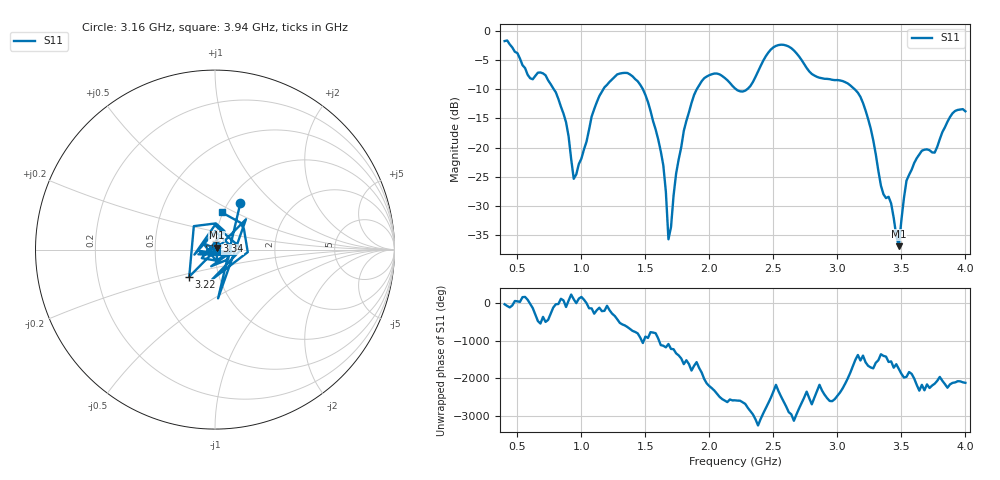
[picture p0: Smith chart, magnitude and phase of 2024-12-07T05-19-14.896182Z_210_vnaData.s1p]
!Created with skrf (http://scikit-rf.org).
# Hz S RI R 50.0
!freq ReS11 ImS11
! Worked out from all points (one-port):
!   181 points, 400 MHz to 4 GHz, reference 50 ohm
!   lowest |S11| = -36.9 dB at 3.48 GHz (marker M1), VSWR 1.03, Z = 51 + j1.01 ohm
!   |S11| at or under -10 dB: 784.6 MHz to 1.171 GHz (386.8 MHz wide, 39.6 % of centre); 1.481 GHz to 1.901 GHz (420.4 MHz wide, 24.9 % of centre); 3.135 GHz to end of sweep (the widest 3 of 4)
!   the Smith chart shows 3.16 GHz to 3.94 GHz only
!   S11 on the Smith chart (normalised r, x): 3.16 GHz: 1.13, +0.65; 3.22 GHz: 0.72, -0.23; 3.34 GHz: 1.01, +0.09; 3.94 GHz: 0.99, +0.43
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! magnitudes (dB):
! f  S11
! 400 MHz  -1.8
! 600 MHz  -8.1
! 720 MHz  -7.6
! 860 MHz  -14.2
! 940 MHz  -25.3
! 1.14 GHz  -11.2
! 1.3 GHz  -7.3
! 1.52 GHz  -12.2
! 1.64 GHz  -23.0
! 1.68 GHz  -35.7
! 1.76 GHz  -22.0
! 1.86 GHz  -12.4
! 1.94 GHz  -8.6
! 2.2 GHz  -9.9
! 2.32 GHz  -9.4
! 2.5 GHz  -2.8
! 2.66 GHz  -3.3
! 2.8 GHz  -7.4
! 3.1 GHz  -9.3
! 3.16 GHz  -10.6
! 3.22 GHz  -13.6
! 3.34 GHz  -26.5
! 3.42 GHz  -29.6
! 3.48 GHz  -36.9
! 3.52 GHz  -28.6
! 3.56 GHz  -24.7
! 3.94 GHz  -13.5
! 4 GHz  -13.8
